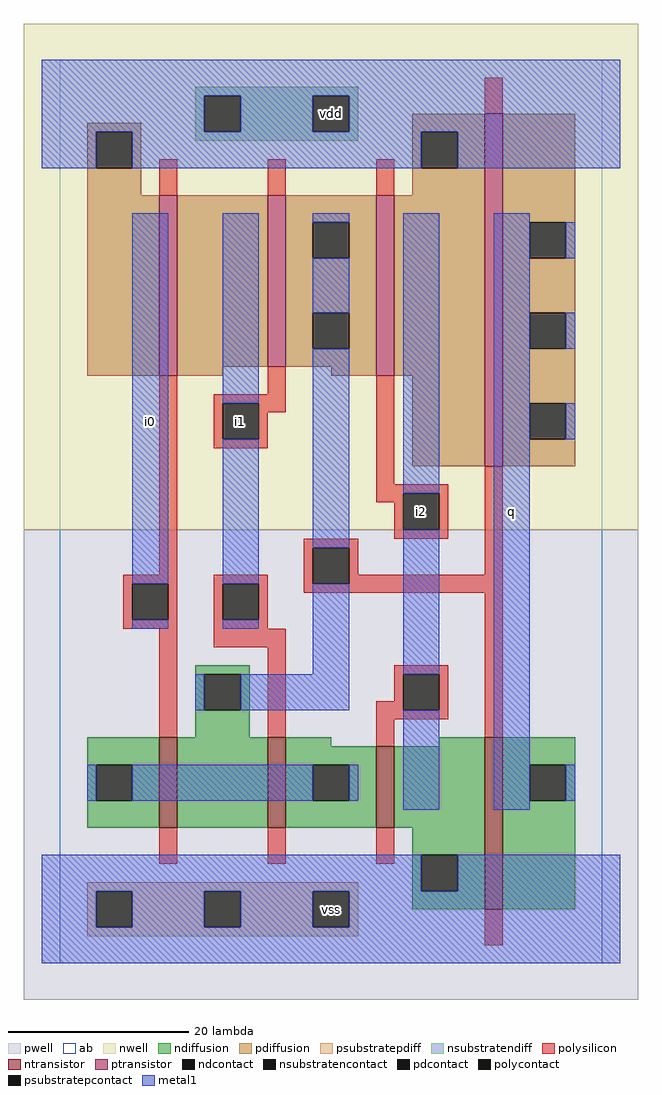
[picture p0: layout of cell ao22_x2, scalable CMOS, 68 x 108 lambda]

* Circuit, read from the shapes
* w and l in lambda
.subckt ao22_x2 i0 i1 i2 q vdd vss
M1 n1 i0 n2 vss nfet w=10 l=2
M2 n2 i1 n1 vss nfet w=10 l=2
M3 vss i2 n2 vss nfet w=9 l=2
M4 q n1 vss vss nfet w=19 l=2
M5 n3 i0 vdd vdd pfet w=20 l=2
M6 n1 i1 n3 vdd pfet w=19 l=2
M7 vdd i2 n1 vdd pfet w=20 l=2
M8 q n1 vdd vdd pfet w=39 l=2
.ends

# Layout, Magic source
magic
tech scmos
<< ab >>
rect 0 0 60 100
<< pwell >>
rect -4 -4 64 48
<< nwell >>
rect -4 48 64 104
<< polysilicon >>
rect 47 94 49 98
rect 11 85 13 89
rect 23 85 25 89
rect 35 85 37 89
rect 11 43 13 65
rect 23 63 25 66
rect 17 62 25 63
rect 17 58 18 62
rect 22 61 25 62
rect 22 58 23 61
rect 17 57 23 58
rect 35 53 37 65
rect 35 52 43 53
rect 35 51 38 52
rect 37 48 38 51
rect 42 48 43 52
rect 37 47 43 48
rect 27 46 33 47
rect 7 42 13 43
rect 7 38 8 42
rect 12 38 13 42
rect 7 37 13 38
rect 11 25 13 37
rect 17 42 23 43
rect 17 38 18 42
rect 22 38 23 42
rect 27 42 28 46
rect 32 43 33 46
rect 47 43 49 55
rect 32 42 49 43
rect 27 41 49 42
rect 17 37 23 38
rect 17 35 25 37
rect 23 25 25 35
rect 37 32 43 33
rect 37 29 38 32
rect 35 28 38 29
rect 42 28 43 32
rect 35 27 43 28
rect 35 24 37 27
rect 47 25 49 41
rect 11 11 13 15
rect 23 11 25 15
rect 35 11 37 15
rect 47 2 49 6
<< ndiffusion >>
rect 15 32 21 33
rect 15 28 16 32
rect 20 28 21 32
rect 15 25 21 28
rect 3 22 11 25
rect 3 18 4 22
rect 8 18 11 22
rect 3 15 11 18
rect 13 15 23 25
rect 25 24 30 25
rect 42 24 47 25
rect 25 22 35 24
rect 25 18 28 22
rect 32 18 35 22
rect 25 15 35 18
rect 37 15 47 24
rect 39 12 47 15
rect 39 8 40 12
rect 44 8 47 12
rect 39 6 47 8
rect 49 22 57 25
rect 49 18 52 22
rect 56 18 57 22
rect 49 6 57 18
<< pdiffusion >>
rect 3 92 9 93
rect 3 88 4 92
rect 8 88 9 92
rect 39 92 47 94
rect 3 85 9 88
rect 39 88 40 92
rect 44 88 47 92
rect 39 85 47 88
rect 3 65 11 85
rect 13 66 23 85
rect 25 82 35 85
rect 25 78 28 82
rect 32 78 35 82
rect 25 72 35 78
rect 25 68 28 72
rect 32 68 35 72
rect 25 66 35 68
rect 13 65 18 66
rect 30 65 35 66
rect 37 65 47 85
rect 39 55 47 65
rect 49 82 57 94
rect 49 78 52 82
rect 56 78 57 82
rect 49 72 57 78
rect 49 68 52 72
rect 56 68 57 72
rect 49 62 57 68
rect 49 58 52 62
rect 56 58 57 62
rect 49 55 57 58
<< metal1 >>
rect -2 96 62 100
rect -2 92 16 96
rect 20 92 28 96
rect 32 92 62 96
rect -2 88 4 92
rect 8 88 40 92
rect 44 88 62 92
rect 8 42 12 83
rect 8 37 12 38
rect 18 62 22 83
rect 18 42 22 58
rect 18 37 22 38
rect 28 82 32 83
rect 28 72 32 78
rect 28 46 32 68
rect 28 32 32 42
rect 15 28 16 32
rect 20 28 32 32
rect 38 52 42 83
rect 38 32 42 48
rect 3 18 4 22
rect 8 18 28 22
rect 32 18 33 22
rect 38 17 42 28
rect 48 17 52 83
rect 56 78 57 82
rect 56 68 57 72
rect 56 58 57 62
rect 56 18 57 22
rect -2 8 40 12
rect 44 8 62 12
rect -2 4 4 8
rect 8 4 16 8
rect 20 4 28 8
rect 32 4 62 8
rect -2 0 62 4
<< ntransistor >>
rect 11 15 13 25
rect 23 15 25 25
rect 35 15 37 24
rect 47 6 49 25
<< ptransistor >>
rect 11 65 13 85
rect 23 66 25 85
rect 35 65 37 85
rect 47 55 49 94
<< polycontact >>
rect 18 58 22 62
rect 38 48 42 52
rect 8 38 12 42
rect 18 38 22 42
rect 28 42 32 46
rect 38 28 42 32
<< ndcontact >>
rect 16 28 20 32
rect 4 18 8 22
rect 28 18 32 22
rect 40 8 44 12
rect 52 18 56 22
<< pdcontact >>
rect 4 88 8 92
rect 40 88 44 92
rect 28 78 32 82
rect 28 68 32 72
rect 52 78 56 82
rect 52 68 56 72
rect 52 58 56 62
<< psubstratepcontact >>
rect 4 4 8 8
rect 16 4 20 8
rect 28 4 32 8
<< nsubstratencontact >>
rect 16 92 20 96
rect 28 92 32 96
<< psubstratepdiff >>
rect 3 8 33 9
rect 3 4 4 8
rect 8 4 16 8
rect 20 4 28 8
rect 32 4 33 8
rect 3 3 33 4
<< nsubstratendiff >>
rect 15 96 33 97
rect 15 92 16 96
rect 20 92 28 96
rect 32 92 33 96
rect 15 91 33 92
<< labels >>
rlabel metal1 10 60 10 60 6 i0
rlabel polycontact 20 60 20 60 6 i1
rlabel psubstratepcontact 30 6 30 6 6 vss
rlabel polycontact 40 50 40 50 6 i2
rlabel nsubstratencontact 30 94 30 94 6 vdd
rlabel metal1 50 50 50 50 6 q
<< end >>
